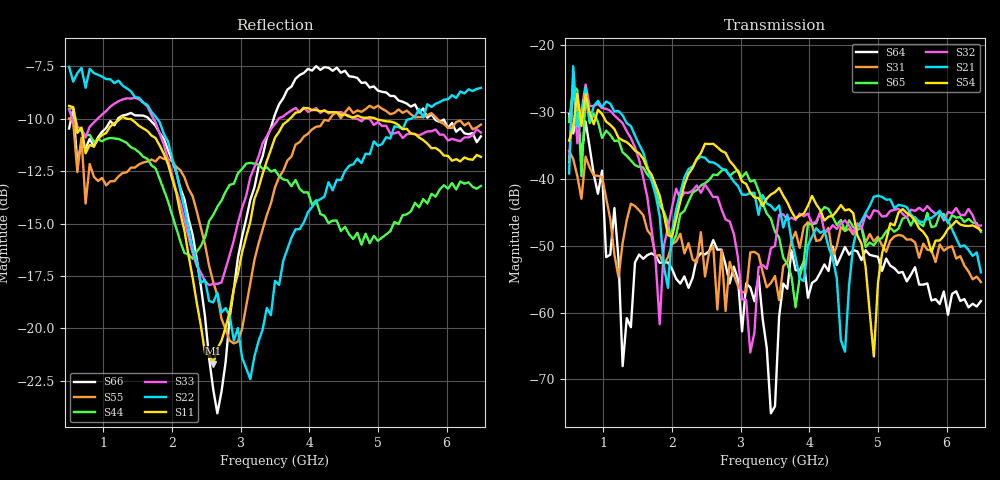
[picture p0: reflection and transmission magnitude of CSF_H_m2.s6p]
!Keysight Technologies,M9804A,MY58100912,A.14.10.03
!Date: Thursday, April 27, 2023 10:28:33
!Correction: S11(C  6-Port  )
!S12(C  6-Port  )
!S13(C  6-Port  )
!S14(C  6-Port  )
!S15(C  6-Port  )
!S16(C  6-Port  )
!S21(C  6-Port  )
!S22(C  6-Port  )
!S23(C  6-Port  )
!S24(C  6-Port  )
!S25(C  6-Port  )
!S26(C  6-Port  )
!S31(C  6-Port  )
!S32(C  6-Port  )
!S33(C  6-Port  )
!S34(C  6-Port  )
!S35(C  6-Port  )
!S36(C  6-Port  )
!S41(C  6-Port  )
!S42(C  6-Port  )
!S43(C  6-Port  )
!S44(C  6-Port  )
!S45(C  6-Port  )
!S46(C  6-Port  )
!S51(C  6-Port  )
!S52(C  6-Port  )
!S53(C  6-Port  )
!S54(C  6-Port  )
!S55(C  6-Port  )
!S56(C  6-Port  )
!S61(C  6-Port  )
!S62(C  6-Port  )
!S63(C  6-Port  )
!S64(C  6-Port  )
!S65(C  6-Port  )
!S66(C  6-Port  )
!S6P File: Measurement: :
# Hz S  RI  R 50
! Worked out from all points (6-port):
!   101 points, 500 MHz to 6.5 GHz, reference 50 ohm
!   strongest paths, dB at 500 MHz, 2 GHz, 3.5 GHz, 5 GHz, 6.5 GHz:
!     S54: -34.3, -48.7, -42.0, -55.6, -47.7
!     S21: -39.2, -47.8, -44.7, -42.5, -54.0
!     S32: -37.5, -44.2, -50.0, -44.9, -47.0
!     S65: -31.5, -49.6, -47.9, -49.1, -47.9
!     S31: -35.8, -49.8, -54.5, -48.7, -55.4
!     S64: -30.3, -53.5, -74.0, -51.7, -58.3
!   lowest |S11| = -21.7 dB at 2.6 GHz (marker M1), VSWR 1.18, Z = 42.6 + j1.99 ohm
!   |S11| at or under -10 dB: 587.1 MHz to 1.245 GHz (657.9 MHz wide, 71.8 % of centre); 1.354 GHz to 3.716 GHz (2.362 GHz wide, 93.2 % of centre); 4.971 GHz to end of sweep
